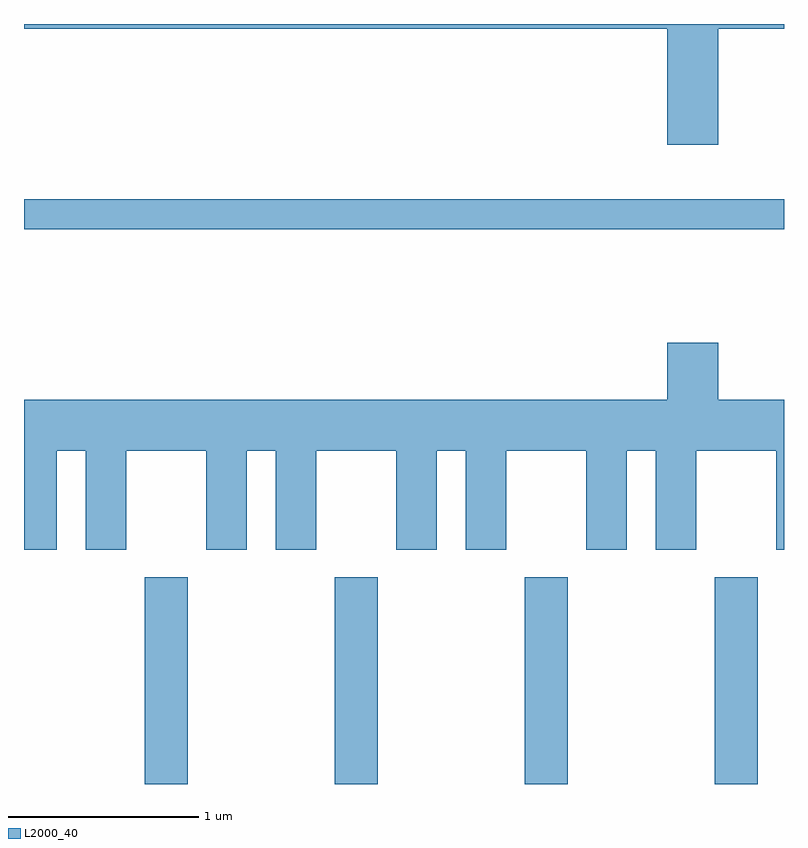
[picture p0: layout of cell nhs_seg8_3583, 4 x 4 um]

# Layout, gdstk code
import gdstk
lib = gdstk.Library(unit=1e-6, precision=1e-09)
def R(c, l, rs):  # rectangles x0, y0, x1, y1
    for r in rs: c.add(gdstk.rectangle(r[:2], r[2:], *l))
def A(c, l, x, y, w, h, nx, ny, dx, dy):  # array of equal rectangles
    R(c, l, [(x+i*dx, y+j*dy, x+i*dx+w, y+j*dy+h) for i in range(nx) for j in range(ny)])
def P(c, l, *ps):  # polygons
    for p in ps: c.add(gdstk.Polygon(p, *l))
L2000_40 = (2000, 40)

nhs_seg8_3583 = lib.new_cell('nhs_seg8_3583')
A(nhs_seg8_3583, L2000_40, 292.246, 1932.342, 0.228, 1.087, 4, 1, 1, 0)
R(nhs_seg8_3583, L2000_40, [(291.611,1935.261,295.611,1935.419)])
P(nhs_seg8_3583, L2000_40, [(295.264,1936.316),(295.611,1936.316),(295.611,1936.342),(291.611,1936.342),(291.611,1936.316),(294.996,1936.316),(294.996,1935.706),(295.264,1935.706)],
  [(291.784,1934.096),(291.936,1934.096),(291.936,1933.576),(292.149,1933.576),(292.149,1934.096),(292.571,1934.096),(292.571,1933.576),(292.784,1933.576),(292.784,1934.096),(292.936,1934.096),(292.936,1933.576),(293.149,1933.576),(293.149,1934.096),(293.571,1934.096),(293.571,1933.576),(293.784,1933.576),(293.784,1934.096),(293.936,1934.096),(293.936,1933.576),(294.149,1933.576),(294.149,1934.096),(294.571,1934.096),(294.571,1933.576),(294.784,1933.576),(294.784,1934.096),(294.936,1934.096),(294.936,1933.576),(295.149,1933.576),(295.149,1934.096),(295.571,1934.096),(295.571,1933.576),(295.611,1933.576),(295.611,1934.364),(295.264,1934.364),(295.264,1934.664),(294.996,1934.664),(294.996,1934.364),(291.611,1934.364),(291.611,1933.576),(291.784,1933.576)])

lib.write_gds('nhs_seg8_3583.gds')
